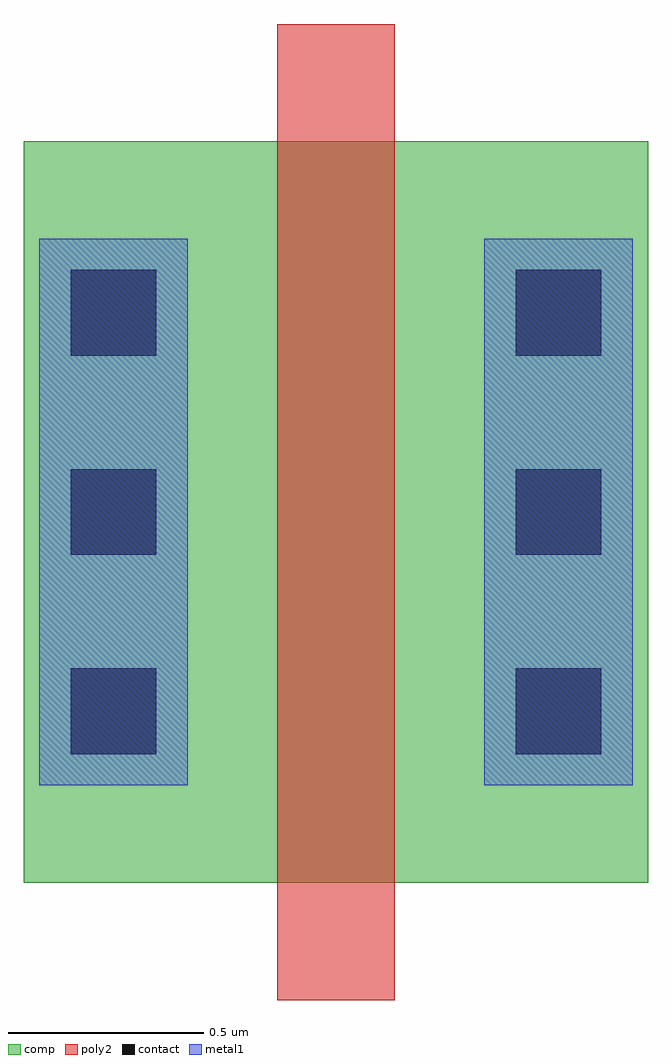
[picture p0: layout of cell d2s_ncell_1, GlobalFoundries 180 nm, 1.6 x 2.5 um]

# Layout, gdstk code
import gdstk
lib = gdstk.Library(unit=1e-6, precision=5e-09)
def R(c, l, rs):  # rectangles x0, y0, x1, y1
    for r in rs: c.add(gdstk.rectangle(r[:2], r[2:], *l))
def A(c, l, x, y, w, h, nx, ny, dx, dy):  # array of equal rectangles
    R(c, l, [(x+i*dx, y+j*dy, x+i*dx+w, y+j*dy+h) for i in range(nx) for j in range(ny)])
comp = (22, 0)
poly2 = (30, 0)
contact = (33, 0)
metal1 = (34, 0)

d2s_ncell_1 = lib.new_cell('d2s_ncell_1')
R(d2s_ncell_1, comp, [(0,0.3,0.46,2.2), (0.46,0.3,1.14,2.2), (1.14,0.3,1.6,2.2)])
R(d2s_ncell_1, poly2, [(0.65,0,0.95,2.5)])
A(d2s_ncell_1, contact, 0.12, 0.63, 0.22, 0.22, 1, 3, 0, 0.51)
A(d2s_ncell_1, contact, 1.26, 0.63, 0.22, 0.22, 1, 3, 0, 0.51)
R(d2s_ncell_1, metal1, [(0.04,0.55,0.42,1.95), (1.18,0.55,1.56,1.95)])

lib.write_gds('d2s_ncell_1.gds')
